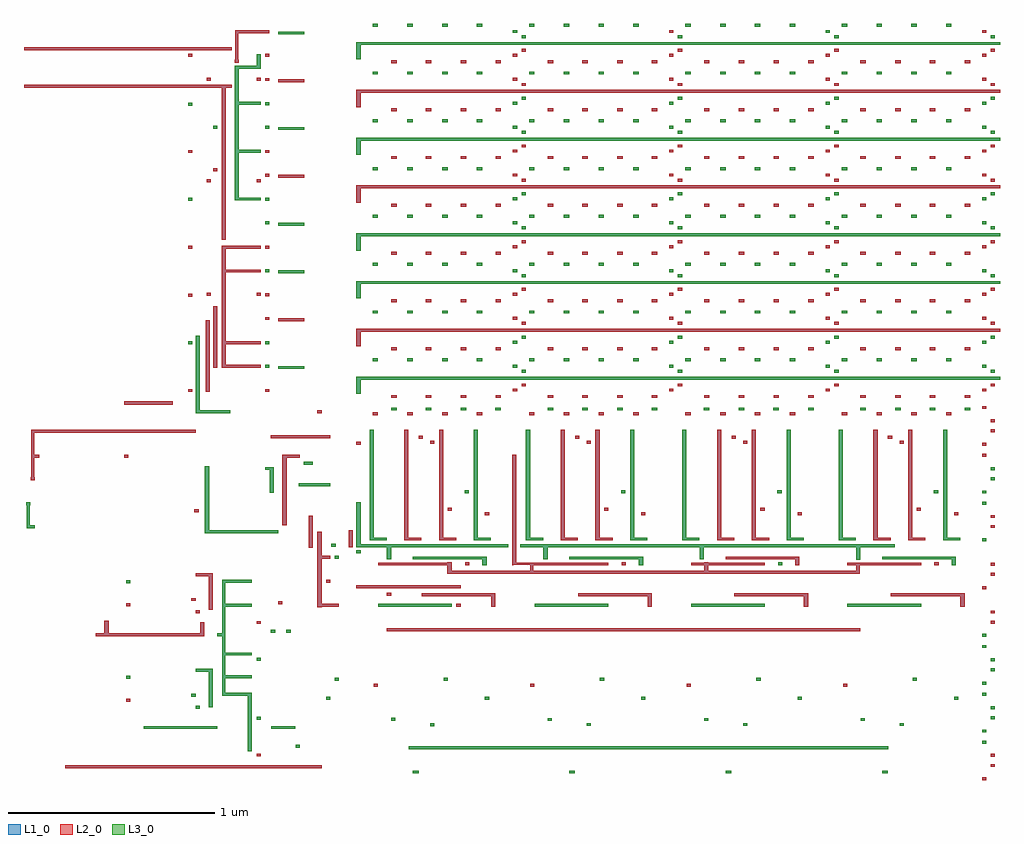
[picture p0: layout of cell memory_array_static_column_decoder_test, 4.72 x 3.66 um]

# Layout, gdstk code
import gdstk
lib = gdstk.Library(unit=1e-6, precision=5e-10)
def R(c, l, rs):  # rectangles x0, y0, x1, y1
    for r in rs: c.add(gdstk.rectangle(r[:2], r[2:], *l))
def A(c, l, x, y, w, h, nx, ny, dx, dy):  # array of equal rectangles
    R(c, l, [(x+i*dx, y+j*dy, x+i*dx+w, y+j*dy+h) for i in range(nx) for j in range(ny)])
def P(c, l, *ps):  # polygons
    for p in ps: c.add(gdstk.Polygon(p, *l))
L1_0 = (1, 0)
L2_0 = (2, 0)
L3_0 = (3, 0)

proto_hold_tspc_pos_ff_3 = lib.new_cell('PROTO_HOLD_tspc_pos_ff_3R')
R(proto_hold_tspc_pos_ff_3, L1_0, [(-0.136,0.0685,-0.109,0.0825), (-0.157,0.186,-0.1075,0.2)])
R(proto_hold_tspc_pos_ff_3, L3_0, [(-0.136,0.0685,-0.109,0.0825)])

c_2to4_decoder_static = lib.new_cell('2to4_decoder_static')
R(c_2to4_decoder_static, L1_0, [(0.0455,0.066,0.4015,0.08), (0.0455,0.265,0.4015,0.279)])
P(c_2to4_decoder_static, L1_0, [(0.5275,0.921),(0.5275,0.4),(0.5905,0.4),(0.5905,0.386),(0.5075,0.386),(0.5075,0.921)],
  [(0.3595,0.9205),(0.3595,0.4),(0.4225,0.4),(0.4225,0.386),(0.3395,0.386),(0.3395,0.9205)],
  [(0.6115,0.13),(0.6115,0.066),(0.5915,0.066),(0.5915,0.116),(0.2555,0.116),(0.2555,0.13)],
  [(0.5695,0.308),(0.5695,0.266),(0.5495,0.266),(0.5495,0.294),(0.2135,0.294),(0.2135,0.308)],
  [(0.1915,0.921),(0.1915,0.4),(0.2545,0.4),(0.2545,0.386),(0.1715,0.386),(0.1715,0.921)],
  [(0.0235,0.921),(0.0235,0.4),(0.0865,0.4),(0.0865,0.386),(0.0035,0.386),(0.0035,0.921)])
P(c_2to4_decoder_static, L2_0, [(0.3595,0.9205),(0.3595,0.4),(0.4225,0.4),(0.4225,0.386),(0.3395,0.386),(0.3395,0.9205)],
  [(0.6115,0.13),(0.6115,0.066),(0.5915,0.066),(0.5915,0.116),(0.2555,0.116),(0.2555,0.13)],
  [(0.1915,0.921),(0.1915,0.4),(0.2545,0.4),(0.2545,0.386),(0.1715,0.386),(0.1715,0.921)])
R(c_2to4_decoder_static, L3_0, [(0.0455,0.066,0.4015,0.08)])
P(c_2to4_decoder_static, L3_0, [(0.5275,0.921),(0.5275,0.4),(0.5905,0.4),(0.5905,0.386),(0.5075,0.386),(0.5075,0.921)],
  [(0.0235,0.921),(0.0235,0.4),(0.0865,0.4),(0.0865,0.386),(0.0035,0.386),(0.0035,0.921)])

demux = lib.new_cell('Demux')
R(demux, L1_0, [(0.171,0.0685,0.1915,0.0825), (0.171,0.18,0.1915,0.194)])
R(demux, L2_0, [(0.171,0.0685,0.1915,0.0825)])
R(demux, L3_0, [(0.171,0.18,0.1915,0.194)])

proto_hold_precharge_log = lib.new_cell('PROTO_HOLD_precharge_logic_3Q')
R(proto_hold_precharge_log, L1_0, [(-0.1765,-0.08,-0.1505,-0.066), (-0.087,-0.0565,-0.0605,-0.0425)])
R(proto_hold_precharge_log, L2_0, [(-0.1765,-0.08,-0.1505,-0.066)])
R(proto_hold_precharge_log, L3_0, [(-0.087,-0.0565,-0.0605,-0.0425)])

write_driver = lib.new_cell('Write_Driver')
R(write_driver, L1_0, [(0.5985,0.2175,0.6185,0.2315), (0.0615,0.2805,0.0815,0.2945), (0.3985,0.31,0.4185,0.324)])
R(write_driver, L2_0, [(0.0615,0.2805,0.0815,0.2945)])
R(write_driver, L3_0, [(0.5985,0.2175,0.6185,0.2315), (0.3985,0.31,0.4185,0.324)])

sram_6t = lib.new_cell('sram_6t')
R(sram_6t, L1_0, [(0.1025,0.0355,0.1285,0.0495), (0,0.1245,0.141,0.1385), (0.0125,0.213,0.0385,0.227)])
R(sram_6t, L2_0, [(0.1025,0.0355,0.1285,0.0495)])
R(sram_6t, L3_0, [(0.0125,0.213,0.0385,0.227)])

memory_array_static_colu = lib.new_cell('memory_array_static_column_decoder_test')
A(memory_array_static_colu, L1_0, 2.72, 0.298, 0.02, 0.014, 3, 2, 0.756, 1.3645)
A(memory_array_static_colu, L1_0, 2.5315, 0.322, 0.02, 0.014, 3, 1, 0.756, 0)
A(memory_array_static_colu, L1_0, 2.228, 0.4245, 0.02, 0.014, 4, 2, 0.756, 0.892)
A(memory_array_static_colu, L1_0, 1.691, 0.4875, 0.02, 0.014, 4, 1, 0.756, 0)
A(memory_array_static_colu, L1_0, 2.028, 0.517, 0.02, 0.014, 4, 1, 0.756, 0)
A(memory_array_static_colu, L1_0, 4.631, 0.7285, 0.02, 0.014, 1, 3, 0, 0.231)
A(memory_array_static_colu, L1_0, 2.1325, 1.0745, 0.02, 0.014, 3, 1, 0.756, 0)
A(memory_array_static_colu, L1_0, 1.88, 1.1025, 0.02, 0.014, 4, 1, 0.756, 0)
A(memory_array_static_colu, L1_0, 2.0475, 1.338, 0.02, 0.014, 4, 1, 0.756, 0)
A(memory_array_static_colu, L1_0, 2.13, 1.423, 0.02, 0.014, 4, 1, 0.756, 0)
A(memory_array_static_colu, L1_0, 2.664, 1.686, 0.02, 0.014, 3, 1, 0.756, 0)
A(memory_array_static_colu, L1_0, 2.363, 1.915, 0.02, 0.014, 4, 2, 0.756, 0.115)
A(memory_array_static_colu, L1_0, 2.405, 1.939, 0.02, 0.014, 4, 2, 0.756, 0.0665)
A(memory_array_static_colu, L1_0, 1.229, 2.0235, 0.126, 0.014, 1, 8, 0, 0.231)
A(memory_array_static_colu, L1_0, 2.363, 2.146, 0.02, 0.014, 4, 2, 0.756, 0.115)
A(memory_array_static_colu, L1_0, 2.405, 2.17, 0.02, 0.014, 4, 2, 0.756, 0.0665)
A(memory_array_static_colu, L1_0, 2.363, 2.377, 0.02, 0.014, 4, 2, 0.756, 0.115)
A(memory_array_static_colu, L1_0, 2.405, 2.401, 0.02, 0.014, 4, 2, 0.756, 0.0665)
A(memory_array_static_colu, L1_0, 2.363, 2.608, 0.02, 0.014, 4, 2, 0.756, 0.115)
A(memory_array_static_colu, L1_0, 2.405, 2.632, 0.02, 0.014, 4, 2, 0.756, 0.0665)
A(memory_array_static_colu, L1_0, 2.363, 2.839, 0.02, 0.014, 4, 2, 0.756, 0.115)
A(memory_array_static_colu, L1_0, 2.405, 2.863, 0.02, 0.014, 4, 2, 0.756, 0.0665)
A(memory_array_static_colu, L1_0, 2.363, 3.07, 0.02, 0.014, 4, 2, 0.756, 0.115)
A(memory_array_static_colu, L1_0, 2.405, 3.094, 0.02, 0.014, 4, 2, 0.756, 0.0665)
A(memory_array_static_colu, L1_0, 2.363, 3.301, 0.02, 0.014, 4, 2, 0.756, 0.115)
A(memory_array_static_colu, L1_0, 2.405, 3.325, 0.02, 0.014, 4, 2, 0.756, 0.0665)
A(memory_array_static_colu, L1_0, 2.363, 3.5325, 0.02, 0.014, 4, 2, 0.756, 0.115)
A(memory_array_static_colu, L1_0, 2.405, 3.5565, 0.02, 0.014, 4, 2, 0.756, 0.0665)
R(memory_array_static_colu, L1_0, [(4.631,0.0355,4.651,0.0495), (0.1995,0.0935,1.438,0.1075), (4.673,0.1,4.693,0.114), (4.673,0.1485,4.693,0.1625), (1.124,0.1505,1.144,0.1645), (1.859,0.186,4.1765,0.2), (1.313,0.1925,1.333,0.2065), (4.631,0.213,4.651,0.227), (4.631,0.2665,4.651,0.2805), (0.578,0.2835,0.9345,0.2975), (1.196,0.2835,1.312,0.2975), (1.964,0.2975,1.984,0.3115), (1.775,0.3225,1.795,0.3365), (1.124,0.329,1.144,0.343), (4.673,0.331,4.693,0.345), (4.673,0.3795,4.693,0.3935), (0.83,0.3805,0.85,0.3945), (1.46,0.424,1.48,0.4385), (0.809,0.44,0.829,0.454), (4.631,0.444,4.651,0.458), (4.631,0.4975,4.651,0.5115), (1.502,0.5165,1.522,0.5305), (4.673,0.562,4.693,0.576), (4.673,0.6105,4.693,0.6245), (1.124,0.6125,1.144,0.6265), (4.631,0.675,4.651,0.689), (1.2685,0.748,1.2885,0.762), (1.1935,0.7495,1.2135,0.7635), (1.7545,0.756,4.0425,0.77), (1.124,0.791,1.1445,0.805), (4.673,0.793,4.693,0.807), (4.673,0.8415,4.693,0.8555), (0.83,0.8425,0.85,0.8565), (2.09,0.8745,2.11,0.8885), (1.229,0.8865,1.249,0.9005), (0.809,0.902,0.829,0.916), (1.922,0.9245,1.942,0.9385), (1.754,0.928,1.774,0.942), (1.607,0.9635,2.1105,0.9775), (1.46,0.991,1.48,1.005), (4.673,1.024,4.693,1.038), (4.673,1.0725,4.693,1.0865), (3.728,1.0745,3.748,1.0885), (4.4005,1.0745,4.4205,1.0885), (1.502,1.1055,1.522,1.1195), (1.607,1.133,1.627,1.147), (1.376,1.1585,1.396,1.3145), (1.5685,1.1625,1.5885,1.2435), (1.486,1.164,1.506,1.178), (4.673,1.255,4.693,1.269), (4.673,1.3035,4.693,1.3175), (0.824,1.332,0.844,1.346), (4.631,1.368,4.651,1.382), (4.631,1.4215,4.651,1.4355), (4.673,1.486,4.693,1.5), (4.673,1.5345,4.693,1.5485), (1.353,1.561,1.395,1.575), (0.485,1.595,0.505,1.609), (4.631,1.599,4.651,1.613), (4.631,1.6525,4.651,1.6665), (1.607,1.6565,1.627,1.6705), (1.9635,1.663,1.9835,1.677), (1.908,1.6865,1.928,1.7005), (1.1935,1.6885,1.48,1.7025), (4.673,1.717,4.693,1.731), (4.673,1.7655,4.693,1.7795), (1.418,1.8105,1.438,1.8245), (4.631,1.83,4.651,1.844), (0.485,1.8515,0.7195,1.8665), (0.794,1.9125,0.814,1.9265), (1.166,1.9125,1.186,1.9265), (0.879,1.9135,0.899,2.26), (0.914,2.029,0.934,2.3275), (1.166,2.0295,1.186,2.0435), (0.794,2.1435,0.814,2.1575), (1.166,2.1435,1.186,2.1575), (1.166,2.2605,1.186,2.2745), (0.7935,2.3735,0.8135,2.3875), (1.166,2.3745,1.186,2.3885), (0.8825,2.377,0.9025,2.3915), (1.124,2.377,1.144,2.391), (1.166,2.4915,1.186,2.5055), (0.7935,2.6055,0.8135,2.6195), (1.166,2.6055,1.186,2.6195), (1.166,2.7225,1.186,2.7365), (0.7935,2.836,0.8135,2.85), (1.166,2.8365,1.186,2.8505), (1.124,2.9255,1.144,2.9395), (0.8825,2.926,0.9025,2.94), (1.166,2.9535,1.186,2.9675), (0.914,2.98,0.934,2.994), (0.7935,3.0675,0.8135,3.0815), (1.166,3.0675,1.186,3.0815), (0.914,3.185,0.934,3.2), (1.166,3.185,1.186,3.199), (0.7935,3.296,0.8135,3.31), (1.166,3.2985,1.186,3.3125), (1.166,3.4155,1.186,3.4295), (0.8825,3.4165,0.9025,3.4305), (1.124,3.4165,1.144,3.4305), (0.794,3.532,0.814,3.546), (1.166,3.532,1.186,3.546), (0,3.5635,1.0045,3.5775)])
P(memory_array_static_colu, L1_0, [(1.186,3.6605),(1.186,3.6465),(1.036,3.6465),(1.036,3.5185),(1.039,3.5185),(1.039,3.5045),(1.036,3.5045),(1.036,3.504),(1.022,3.504),(1.022,3.5045),(1.019,3.5045),(1.019,3.5185),(1.022,3.5185),(1.022,3.6605)],
  [(0.85,2.1845),(0.85,1.8245),(0.997,1.8245),(0.997,1.8105),(0.83,1.8105),(0.83,2.1845)],
  [(1.48,1.4705),(1.48,1.4565),(1.347,1.4565),(1.347,1.4555),(1.327,1.4555),(1.327,1.4705)],
  [(1.207,1.5495),(1.207,1.4255),(1.187,1.4255),(1.187,1.5355),(1.165,1.5355),(1.165,1.5495)],
  [(0.829,1.729),(0.829,1.715),(0.049,1.715),(0.049,1.609),(0.073,1.609),(0.073,1.595),(0.049,1.595),(0.049,1.499),(0.052,1.499),(0.052,1.485),(0.049,1.485),(0.049,1.4845),(0.035,1.4845),(0.035,1.485),(0.032,1.485),(0.032,1.499),(0.035,1.499),(0.035,1.729)],
  [(1.627,1.378),(1.627,1.1765),(2.34,1.1765),(2.34,1.1625),(1.774,1.1625),(1.774,1.1025),(1.754,1.1025),(1.754,1.1625),(1.607,1.1625),(1.607,1.378)],
  [(1.438,1.2355),(1.438,1.1195),(1.48,1.1195),(1.48,1.1055),(1.438,1.1055),(1.438,0.8885),(1.522,0.8885),(1.522,0.8745),(1.438,0.8745),(1.438,0.871),(1.4175,0.871),(1.4175,1.2355)],
  [(1.333,1.609),(1.333,1.595),(1.27,1.595),(1.27,1.269),(1.249,1.269),(1.249,1.609)],
  [(0.8945,1.552),(0.8945,1.245),(1.2285,1.245),(1.2285,1.23),(0.8745,1.23),(0.8745,1.552)],
  [(0.913,1.0365),(0.913,0.8605),(0.893,0.8605),(0.893,1.0225),(0.83,1.0225),(0.83,1.0365)],
  [(0.028,1.3785),(0.028,1.378),(0.031,1.378),(0.031,1.364),(0.028,1.364),(0.028,1.2685),(0.052,1.2685),(0.052,1.2535),(0.014,1.2535),(0.014,1.364),(0.011,1.364),(0.011,1.378),(0.014,1.378),(0.014,1.3785)],
  [(0.9135,0.575),(0.9135,0.3875),(0.893,0.3875),(0.893,0.561),(0.83,0.561),(0.83,0.575)],
  [(0.409,0.806),(0.409,0.7465),(0.851,0.7465),(0.851,0.8),(0.871,0.8),(0.871,0.7325),(0.347,0.7325),(0.347,0.7465),(0.389,0.7465),(0.389,0.806)],
  [(4.2095,1.1765),(4.2095,1.1625),(4.042,1.1625),(4.042,1.102),(4.022,1.102),(4.022,1.1625),(3.286,1.1625),(3.286,1.1025),(3.266,1.1025),(3.266,1.1625),(2.5305,1.1625),(2.5305,1.103),(2.5105,1.103),(2.5105,1.1625),(2.3975,1.1625),(2.3975,1.1765)],
  [(2.3805,1.6085),(2.3805,1.0875),(2.489,1.0875),(2.489,1.0735),(2.462,1.0735),(2.462,1.0475),(3.2885,1.0475),(3.2885,1.0885),(3.307,1.0885),(3.307,1.0475),(4.022,1.0475),(4.022,1.0875),(4.0405,1.0875),(4.0405,1.0335),(2.0465,1.0335),(2.0465,1.0885),(2.068,1.0885),(2.068,1.0475),(2.448,1.0475),(2.448,1.0735),(2.3655,1.0735),(2.3655,1.0745),(2.36,1.0745),(2.36,1.6085)],
  [(4.7175,3.6035),(4.7175,3.5895),(1.627,3.5895),(1.627,3.52),(1.607,3.52),(1.607,3.6035)],
  [(4.7175,3.3725),(4.7175,3.3585),(1.627,3.3585),(1.627,3.289),(1.607,3.289),(1.607,3.3725)],
  [(4.7175,3.1415),(4.7175,3.1275),(1.627,3.1275),(1.627,3.058),(1.607,3.058),(1.607,3.1415)],
  [(4.7175,2.9105),(4.7175,2.8965),(1.627,2.8965),(1.627,2.827),(1.607,2.827),(1.607,2.9105)],
  [(4.7175,2.6795),(4.7175,2.6655),(1.627,2.6655),(1.627,2.5955),(1.607,2.5955),(1.607,2.6795)],
  [(4.7175,2.4485),(4.7175,2.4345),(1.627,2.4345),(1.627,2.365),(1.607,2.365),(1.607,2.4485)],
  [(4.7175,2.2175),(4.7175,2.2035),(1.627,2.2035),(1.627,2.134),(1.607,2.134),(1.607,2.2175)],
  [(4.7175,1.9865),(4.7175,1.9725),(1.627,1.9725),(1.627,1.903),(1.607,1.903),(1.607,1.9865)],
  [(1.144,3.545),(1.144,3.4755),(1.039,3.4755),(1.039,3.314),(1.144,3.314),(1.144,3.3),(1.039,3.3),(1.039,3.083),(1.144,3.083),(1.144,3.069),(1.039,3.069),(1.039,2.852),(1.144,2.852),(1.144,2.838),(1.019,2.838),(1.019,3.4895),(1.124,3.4895),(1.124,3.545)],
  [(1.144,2.6185),(1.144,2.604),(0.976,2.604),(0.976,2.504),(1.144,2.504),(1.144,2.49),(0.976,2.49),(0.976,2.1565),(1.144,2.1565),(1.144,2.1425),(0.976,2.1425),(0.976,2.044),(1.144,2.044),(1.144,2.03),(0.956,2.03),(0.956,2.6185)],
  [(1.102,1.005),(1.102,0.991),(0.9735,0.991),(0.9735,0.8885),(1.102,0.8885),(1.102,0.8745),(0.9735,0.8745),(0.9735,0.6525),(1.102,0.6525),(1.102,0.6385),(0.9735,0.6385),(0.9735,0.543),(1.102,0.543),(1.102,0.529),(0.9735,0.529),(0.9735,0.4585),(1.102,0.4585),(1.102,0.1765),(1.082,0.1765),(1.082,0.4445),(0.9585,0.4445),(0.9585,0.7325),(0.935,0.7325),(0.935,0.7465),(0.9585,0.7465),(0.9585,1.005)],
  [(1.005,3.3975),(1.005,3.3835),(0.976,3.3835),(0.976,2.6475),(0.956,2.6475),(0.956,3.3835),(0,3.3835),(0,3.3975)])
A(memory_array_static_colu, L2_0, 2.228, 1.3165, 0.02, 0.014, 4, 1, 0.756, 0)
A(memory_array_static_colu, L2_0, 2.0475, 1.338, 0.02, 0.014, 4, 1, 0.756, 0)
A(memory_array_static_colu, L2_0, 2.72, 1.6625, 0.02, 0.014, 3, 1, 0.756, 0)
A(memory_array_static_colu, L2_0, 2.664, 1.686, 0.02, 0.014, 3, 1, 0.756, 0)
A(memory_array_static_colu, L2_0, 2.363, 1.915, 0.02, 0.014, 4, 2, 0.756, 0.346)
A(memory_array_static_colu, L2_0, 2.405, 1.939, 0.02, 0.014, 4, 2, 0.756, 0.2975)
A(memory_array_static_colu, L2_0, 2.363, 2.377, 0.02, 0.014, 4, 2, 0.756, 0.231)
A(memory_array_static_colu, L2_0, 2.405, 2.401, 0.02, 0.014, 4, 2, 0.756, 0.231)
A(memory_array_static_colu, L2_0, 2.405, 2.9295, 0.02, 0.014, 4, 2, 0.756, 0.1645)
A(memory_array_static_colu, L2_0, 2.363, 2.954, 0.02, 0.014, 4, 2, 0.756, 0.116)
A(memory_array_static_colu, L2_0, 2.405, 3.3915, 0.02, 0.014, 4, 2, 0.756, 0.165)
A(memory_array_static_colu, L2_0, 2.363, 3.416, 0.02, 0.014, 4, 2, 0.756, 0.1165)
R(memory_array_static_colu, L2_0, [(4.631,0.0355,4.651,0.0495), (0.1995,0.0935,1.438,0.1075), (4.673,0.1,4.693,0.114), (4.673,0.1485,4.693,0.1625), (1.124,0.1505,1.144,0.1645), (1.7545,0.756,4.0425,0.77), (1.124,0.791,1.1445,0.805), (4.673,0.793,4.693,0.807), (4.673,0.8415,4.693,0.8555), (0.83,0.8425,0.85,0.8565), (2.09,0.8745,2.11,0.8885), (1.229,0.8865,1.249,0.9005), (0.809,0.902,0.829,0.916), (1.754,0.928,1.774,0.942), (4.631,0.9595,4.651,0.9735), (1.607,0.9635,2.1105,0.9775), (1.46,0.991,1.48,1.005), (4.673,1.024,4.693,1.038), (4.673,1.0725,4.693,1.0865), (2.1325,1.0745,2.1525,1.0885), (2.8885,1.0745,2.9085,1.0885), (4.4005,1.0745,4.4205,1.0885), (1.376,1.1585,1.396,1.3145), (1.5685,1.1625,1.5885,1.2435), (4.673,1.255,4.693,1.269), (4.673,1.3035,4.693,1.3175), (0.824,1.332,0.844,1.346), (0.485,1.595,0.505,1.609), (4.631,1.599,4.651,1.613), (4.631,1.6525,4.651,1.6665), (1.607,1.6565,1.627,1.6705), (1.9635,1.663,1.9835,1.677), (1.908,1.6865,1.928,1.7005), (1.1935,1.6885,1.48,1.7025), (4.673,1.717,4.693,1.731), (4.673,1.7655,4.693,1.7795), (1.418,1.8105,1.438,1.8245), (4.631,1.83,4.651,1.844), (0.485,1.8515,0.7195,1.8665), (0.794,1.9125,0.814,1.9265), (1.166,1.9125,1.186,1.9265), (0.879,1.9135,0.899,2.26), (0.914,2.029,0.934,2.3275), (1.229,2.2545,1.355,2.2685), (1.166,2.2605,1.186,2.2745), (0.7935,2.3735,0.8135,2.3875), (1.166,2.3745,1.186,2.3885), (0.8825,2.377,0.9025,2.3915), (1.124,2.377,1.144,2.391), (0.7935,2.6055,0.8135,2.6195), (1.166,2.6055,1.186,2.6195), (1.124,2.9255,1.144,2.9395), (0.8825,2.926,0.9025,2.94), (1.229,2.9475,1.355,2.9615), (1.166,2.9535,1.186,2.9675), (0.914,2.98,0.934,2.994), (0.7935,3.0675,0.8135,3.0815), (1.166,3.0675,1.186,3.0815), (1.229,3.4095,1.355,3.4235), (1.166,3.4155,1.186,3.4295), (0.8825,3.4165,0.9025,3.4305), (1.124,3.4165,1.144,3.4305), (0.794,3.532,0.814,3.546), (1.166,3.532,1.186,3.546), (0,3.5635,1.0045,3.5775), (3.119,3.6475,3.139,3.6615), (4.631,3.6475,4.651,3.6615)])
P(memory_array_static_colu, L2_0, [(1.186,3.6605),(1.186,3.6465),(1.036,3.6465),(1.036,3.5185),(1.039,3.5185),(1.039,3.5045),(1.036,3.5045),(1.036,3.504),(1.022,3.504),(1.022,3.5045),(1.019,3.5045),(1.019,3.5185),(1.022,3.5185),(1.022,3.6605)],
  [(1.144,2.6185),(1.144,2.604),(0.976,2.604),(0.976,2.504),(1.144,2.504),(1.144,2.49),(0.976,2.49),(0.976,2.1565),(1.144,2.1565),(1.144,2.1425),(0.976,2.1425),(0.976,2.044),(1.144,2.044),(1.144,2.03),(0.956,2.03),(0.956,2.6185)],
  [(1.005,3.3975),(1.005,3.3835),(0.976,3.3835),(0.976,2.6475),(0.956,2.6475),(0.956,3.3835),(0,3.3835),(0,3.3975)],
  [(3.748,1.1165),(3.748,1.0745),(3.728,1.0745),(3.728,1.1025),(3.392,1.1025),(3.392,1.1165)],
  [(1.438,1.2355),(1.438,1.1195),(1.48,1.1195),(1.48,1.1055),(1.438,1.1055),(1.438,0.8885),(1.522,0.8885),(1.522,0.8745),(1.438,0.8745),(1.438,0.871),(1.4175,0.871),(1.4175,1.2355)],
  [(1.333,1.609),(1.333,1.595),(1.27,1.595),(1.27,1.269),(1.249,1.269),(1.249,1.609)],
  [(0.913,1.0365),(0.913,0.8605),(0.893,0.8605),(0.893,1.0225),(0.83,1.0225),(0.83,1.0365)],
  [(0.829,1.729),(0.829,1.715),(0.049,1.715),(0.049,1.609),(0.073,1.609),(0.073,1.595),(0.049,1.595),(0.049,1.499),(0.052,1.499),(0.052,1.485),(0.049,1.485),(0.049,1.4845),(0.035,1.4845),(0.035,1.485),(0.032,1.485),(0.032,1.499),(0.035,1.499),(0.035,1.729)],
  [(0.409,0.806),(0.409,0.7465),(0.851,0.7465),(0.851,0.8),(0.871,0.8),(0.871,0.7325),(0.347,0.7325),(0.347,0.7465),(0.389,0.7465),(0.389,0.806)],
  [(2.3805,1.6085),(2.3805,1.0875),(2.824,1.0875),(2.824,1.0735),(2.462,1.0735),(2.462,1.0475),(3.2885,1.0475),(3.2885,1.0735),(3.224,1.0735),(3.224,1.0875),(3.2885,1.0875),(3.2885,1.0885),(3.307,1.0885),(3.307,1.0875),(3.58,1.0875),(3.58,1.0735),(3.307,1.0735),(3.307,1.0475),(4.022,1.0475),(4.022,1.0735),(3.98,1.0735),(3.98,1.0875),(4.336,1.0875),(4.336,1.0735),(4.0405,1.0735),(4.0405,1.0335),(2.0465,1.0335),(2.0465,1.0735),(1.712,1.0735),(1.712,1.0875),(2.0465,1.0875),(2.0465,1.0885),(2.068,1.0885),(2.068,1.0475),(2.448,1.0475),(2.448,1.0735),(2.3655,1.0735),(2.3655,1.0745),(2.36,1.0745),(2.36,1.6085)],
  [(4.7175,3.3725),(4.7175,3.3585),(1.627,3.3585),(1.627,3.289),(1.607,3.289),(1.607,3.3725)],
  [(4.7175,2.9105),(4.7175,2.8965),(1.627,2.8965),(1.627,2.827),(1.607,2.827),(1.607,2.9105)],
  [(4.7175,2.2175),(4.7175,2.2035),(1.627,2.2035),(1.627,2.134),(1.607,2.134),(1.607,2.2175)])
A(memory_array_static_colu, L3_0, 2.72, 0.298, 0.02, 0.014, 3, 1, 0.756, 0)
A(memory_array_static_colu, L3_0, 2.5315, 0.322, 0.02, 0.014, 3, 1, 0.756, 0)
A(memory_array_static_colu, L3_0, 2.13, 1.423, 0.02, 0.014, 4, 1, 0.756, 0)
A(memory_array_static_colu, L3_0, 2.405, 2.0055, 0.02, 0.014, 4, 2, 0.756, 0.1645)
A(memory_array_static_colu, L3_0, 2.363, 2.03, 0.02, 0.014, 4, 2, 0.756, 0.116)
A(memory_array_static_colu, L3_0, 2.405, 2.4675, 0.02, 0.014, 4, 2, 0.756, 0.231)
A(memory_array_static_colu, L3_0, 2.363, 2.492, 0.02, 0.014, 4, 2, 0.756, 0.231)
A(memory_array_static_colu, L3_0, 1.229, 2.7165, 0.126, 0.014, 1, 3, 0, 0.462)
A(memory_array_static_colu, L3_0, 2.363, 2.839, 0.02, 0.014, 4, 2, 0.756, 0.346)
A(memory_array_static_colu, L3_0, 2.405, 2.863, 0.02, 0.014, 4, 2, 0.756, 0.2975)
A(memory_array_static_colu, L3_0, 2.363, 3.301, 0.02, 0.014, 4, 1, 0.756, 0)
A(memory_array_static_colu, L3_0, 2.405, 3.325, 0.02, 0.014, 4, 2, 0.756, 0.298)
R(memory_array_static_colu, L3_0, [(1.859,0.186,4.1765,0.2), (1.313,0.1925,1.333,0.2065), (4.631,0.213,4.651,0.227), (4.631,0.2665,4.651,0.2805), (0.578,0.2835,0.9345,0.2975), (1.196,0.2835,1.312,0.2975), (1.964,0.2975,1.984,0.3115), (1.775,0.3225,1.795,0.3365), (1.124,0.329,1.144,0.343), (4.673,0.331,4.693,0.345), (4.673,0.3795,4.693,0.3935), (0.83,0.3805,0.85,0.3945), (1.46,0.424,1.48,0.4385), (0.809,0.44,0.829,0.454), (4.631,0.444,4.651,0.458), (4.631,0.4975,4.651,0.5115), (1.502,0.5165,1.522,0.5305), (4.673,0.562,4.693,0.576), (4.673,0.6105,4.693,0.6245), (1.124,0.6125,1.144,0.6265), (4.631,0.675,4.651,0.689), (4.631,0.7285,4.651,0.7425), (1.2685,0.748,1.2885,0.762), (1.1935,0.7495,1.2135,0.7635), (3.6445,1.0745,3.6645,1.0885), (1.502,1.1055,1.522,1.1195), (1.607,1.133,1.627,1.147), (1.486,1.164,1.506,1.178), (4.631,1.1905,4.651,1.2045), (4.631,1.368,4.651,1.382), (4.631,1.4215,4.651,1.4355), (4.673,1.486,4.693,1.5), (4.673,1.5345,4.693,1.5485), (1.353,1.561,1.395,1.575), (1.229,2.0235,1.355,2.0375), (1.166,2.0295,1.186,2.0435), (0.794,2.1435,0.814,2.1575), (1.166,2.1435,1.186,2.1575), (1.229,2.4855,1.355,2.4995), (1.166,2.4915,1.186,2.5055), (1.166,2.7225,1.186,2.7365), (0.7935,2.836,0.8135,2.85), (1.166,2.8365,1.186,2.8505), (0.914,3.185,0.934,3.2), (1.166,3.185,1.186,3.199), (0.7935,3.296,0.8135,3.31), (1.166,3.2985,1.186,3.3125), (2.363,3.6475,2.383,3.6615), (3.875,3.6475,3.895,3.6615)])
P(memory_array_static_colu, L3_0, [(1.144,3.545),(1.144,3.4755),(1.039,3.4755),(1.039,3.314),(1.144,3.314),(1.144,3.3),(1.039,3.3),(1.039,3.083),(1.144,3.083),(1.144,3.069),(1.039,3.069),(1.039,2.852),(1.144,2.852),(1.144,2.838),(1.019,2.838),(1.019,3.4895),(1.124,3.4895),(1.124,3.545)],
  [(0.85,2.1845),(0.85,1.8245),(0.997,1.8245),(0.997,1.8105),(0.83,1.8105),(0.83,2.1845)],
  [(4.504,1.1165),(4.504,1.0745),(4.484,1.0745),(4.484,1.1025),(4.148,1.1025),(4.148,1.1165)],
  [(2.992,1.1165),(2.992,1.0745),(2.972,1.0745),(2.972,1.1025),(2.636,1.1025),(2.636,1.1165)],
  [(2.236,1.1165),(2.236,1.0745),(2.216,1.0745),(2.216,1.1025),(1.88,1.1025),(1.88,1.1165)],
  [(1.627,1.378),(1.627,1.1765),(2.34,1.1765),(2.34,1.1625),(1.774,1.1625),(1.774,1.1025),(1.754,1.1025),(1.754,1.1625),(1.607,1.1625),(1.607,1.378)],
  [(1.48,1.4705),(1.48,1.4565),(1.347,1.4565),(1.347,1.4555),(1.327,1.4555),(1.327,1.4705)],
  [(1.207,1.5495),(1.207,1.4255),(1.187,1.4255),(1.187,1.5355),(1.165,1.5355),(1.165,1.5495)],
  [(0.8945,1.552),(0.8945,1.245),(1.2285,1.245),(1.2285,1.23),(0.8745,1.23),(0.8745,1.552)],
  [(0.028,1.3785),(0.028,1.378),(0.031,1.378),(0.031,1.364),(0.028,1.364),(0.028,1.2685),(0.052,1.2685),(0.052,1.2535),(0.014,1.2535),(0.014,1.364),(0.011,1.364),(0.011,1.378),(0.014,1.378),(0.014,1.3785)],
  [(1.102,1.005),(1.102,0.991),(0.9735,0.991),(0.9735,0.8885),(1.102,0.8885),(1.102,0.8745),(0.9735,0.8745),(0.9735,0.6525),(1.102,0.6525),(1.102,0.6385),(0.9735,0.6385),(0.9735,0.543),(1.102,0.543),(1.102,0.529),(0.9735,0.529),(0.9735,0.4585),(1.102,0.4585),(1.102,0.1765),(1.082,0.1765),(1.082,0.4445),(0.9585,0.4445),(0.9585,0.7325),(0.935,0.7325),(0.935,0.7465),(0.9585,0.7465),(0.9585,1.005)],
  [(0.9135,0.575),(0.9135,0.3875),(0.893,0.3875),(0.893,0.561),(0.83,0.561),(0.83,0.575)],
  [(4.2095,1.1765),(4.2095,1.1625),(4.042,1.1625),(4.042,1.102),(4.022,1.102),(4.022,1.1625),(3.286,1.1625),(3.286,1.1025),(3.266,1.1025),(3.266,1.1625),(2.5305,1.1625),(2.5305,1.103),(2.5105,1.103),(2.5105,1.1625),(2.3975,1.1625),(2.3975,1.1765)],
  [(4.7175,3.6035),(4.7175,3.5895),(1.627,3.5895),(1.627,3.52),(1.607,3.52),(1.607,3.6035)],
  [(4.7175,3.1415),(4.7175,3.1275),(1.627,3.1275),(1.627,3.058),(1.607,3.058),(1.607,3.1415)],
  [(4.7175,2.6795),(4.7175,2.6655),(1.627,2.6655),(1.627,2.5955),(1.607,2.5955),(1.607,2.6795)],
  [(4.7175,2.4485),(4.7175,2.4345),(1.627,2.4345),(1.627,2.365),(1.607,2.365),(1.607,2.4485)],
  [(4.7175,1.9865),(4.7175,1.9725),(1.627,1.9725),(1.627,1.903),(1.607,1.903),(1.607,1.9865)])
memory_array_static_colu.add(gdstk.Reference(proto_hold_tspc_pos_ff_3, (4.284,0)))
memory_array_static_colu.add(gdstk.Reference(proto_hold_tspc_pos_ff_3, (3.528,0)))
memory_array_static_colu.add(gdstk.Reference(proto_hold_tspc_pos_ff_3, (2.772,0)))
memory_array_static_colu.add(gdstk.Reference(proto_hold_tspc_pos_ff_3, (2.016,0)))
memory_array_static_colu.add(gdstk.Reference(c_2to4_decoder_static, (3.9345,0.8085)))
memory_array_static_colu.add(gdstk.Reference(c_2to4_decoder_static, (3.1785,0.8085)))
memory_array_static_colu.add(gdstk.Reference(c_2to4_decoder_static, (1.6665,0.8085)))
memory_array_static_colu.add(gdstk.Reference(c_2to4_decoder_static, (2.4225,0.8085)))
memory_array_static_colu.add(gdstk.Reference(demux, (0.3225,0.8085)))
memory_array_static_colu.add(gdstk.Reference(demux, (0.3225,0.3465)))
memory_array_static_colu.add(gdstk.Reference(proto_hold_precharge_log, (2.3655,1.8795)))
memory_array_static_colu.add(gdstk.Reference(proto_hold_precharge_log, (2.1975,1.8795)))
memory_array_static_colu.add(gdstk.Reference(proto_hold_precharge_log, (2.0295,1.8795)))
memory_array_static_colu.add(gdstk.Reference(proto_hold_precharge_log, (1.8615,1.8795)))
memory_array_static_colu.add(gdstk.Reference(proto_hold_precharge_log, (3.1215,1.8795)))
memory_array_static_colu.add(gdstk.Reference(proto_hold_precharge_log, (2.9535,1.8795)))
memory_array_static_colu.add(gdstk.Reference(proto_hold_precharge_log, (2.7855,1.8795)))
memory_array_static_colu.add(gdstk.Reference(proto_hold_precharge_log, (2.6175,1.8795)))
memory_array_static_colu.add(gdstk.Reference(proto_hold_precharge_log, (4.1295,1.8795)))
memory_array_static_colu.add(gdstk.Reference(proto_hold_precharge_log, (4.2975,1.8795)))
memory_array_static_colu.add(gdstk.Reference(proto_hold_precharge_log, (4.4655,1.8795)))
memory_array_static_colu.add(gdstk.Reference(proto_hold_precharge_log, (4.6335,1.8795)))
memory_array_static_colu.add(gdstk.Reference(proto_hold_precharge_log, (3.8775,1.8795)))
memory_array_static_colu.add(gdstk.Reference(proto_hold_precharge_log, (3.7095,1.8795)))
memory_array_static_colu.add(gdstk.Reference(proto_hold_precharge_log, (3.5415,1.8795)))
memory_array_static_colu.add(gdstk.Reference(proto_hold_precharge_log, (3.3735,1.8795)))
memory_array_static_colu.add(gdstk.Reference(write_driver, (1.6295,0.207)))
memory_array_static_colu.add(gdstk.Reference(write_driver, (2.3855,0.207)))
memory_array_static_colu.add(gdstk.Reference(write_driver, (3.1415,0.207)))
memory_array_static_colu.add(gdstk.Reference(write_driver, (3.8975,0.207)))
memory_array_static_colu.add(gdstk.Reference(sram_6t, (3.6885,2.541)))
memory_array_static_colu.add(gdstk.Reference(sram_6t, (3.6885,2.31)))
memory_array_static_colu.add(gdstk.Reference(sram_6t, (3.6885,2.079)))
memory_array_static_colu.add(gdstk.Reference(sram_6t, (3.9405,1.848)))
memory_array_static_colu.add(gdstk.Reference(sram_6t, (4.1085,1.848)))
memory_array_static_colu.add(gdstk.Reference(sram_6t, (4.2765,1.848)))
memory_array_static_colu.add(gdstk.Reference(sram_6t, (4.4445,1.848)))
memory_array_static_colu.add(gdstk.Reference(sram_6t, (3.3525,3.465)))
memory_array_static_colu.add(gdstk.Reference(sram_6t, (3.5205,3.465)))
memory_array_static_colu.add(gdstk.Reference(sram_6t, (3.1845,3.465)))
memory_array_static_colu.add(gdstk.Reference(sram_6t, (3.5205,3.234)))
memory_array_static_colu.add(gdstk.Reference(sram_6t, (3.3525,3.234)))
memory_array_static_colu.add(gdstk.Reference(sram_6t, (3.1845,3.234)))
memory_array_static_colu.add(gdstk.Reference(sram_6t, (3.1845,3.003)))
memory_array_static_colu.add(gdstk.Reference(sram_6t, (3.5205,3.003)))
memory_array_static_colu.add(gdstk.Reference(sram_6t, (3.3525,3.003)))
memory_array_static_colu.add(gdstk.Reference(sram_6t, (3.1845,2.772)))
memory_array_static_colu.add(gdstk.Reference(sram_6t, (3.3525,2.772)))
memory_array_static_colu.add(gdstk.Reference(sram_6t, (3.5205,2.772)))
memory_array_static_colu.add(gdstk.Reference(sram_6t, (3.3525,2.541)))
memory_array_static_colu.add(gdstk.Reference(sram_6t, (3.5205,2.541)))
memory_array_static_colu.add(gdstk.Reference(sram_6t, (3.1845,2.541)))
memory_array_static_colu.add(gdstk.Reference(sram_6t, (3.5205,2.31)))
memory_array_static_colu.add(gdstk.Reference(sram_6t, (3.3525,2.31)))
memory_array_static_colu.add(gdstk.Reference(sram_6t, (3.1845,2.31)))
memory_array_static_colu.add(gdstk.Reference(sram_6t, (3.1845,2.079)))
memory_array_static_colu.add(gdstk.Reference(sram_6t, (3.3525,2.079)))
memory_array_static_colu.add(gdstk.Reference(sram_6t, (3.5205,2.079)))
memory_array_static_colu.add(gdstk.Reference(sram_6t, (3.6885,1.848)))
memory_array_static_colu.add(gdstk.Reference(sram_6t, (3.5205,1.848)))
memory_array_static_colu.add(gdstk.Reference(sram_6t, (3.3525,1.848)))
memory_array_static_colu.add(gdstk.Reference(sram_6t, (3.1845,1.848)))
memory_array_static_colu.add(gdstk.Reference(sram_6t, (4.4445,2.079)))
memory_array_static_colu.add(gdstk.Reference(sram_6t, (4.2765,2.079)))
memory_array_static_colu.add(gdstk.Reference(sram_6t, (4.1085,2.079)))
memory_array_static_colu.add(gdstk.Reference(sram_6t, (3.9405,2.079)))
memory_array_static_colu.add(gdstk.Reference(sram_6t, (3.9405,2.31)))
memory_array_static_colu.add(gdstk.Reference(sram_6t, (4.1085,2.31)))
memory_array_static_colu.add(gdstk.Reference(sram_6t, (4.2765,2.31)))
memory_array_static_colu.add(gdstk.Reference(sram_6t, (4.4445,2.31)))
memory_array_static_colu.add(gdstk.Reference(sram_6t, (3.9405,2.541)))
memory_array_static_colu.add(gdstk.Reference(sram_6t, (4.4445,2.541)))
memory_array_static_colu.add(gdstk.Reference(sram_6t, (4.2765,2.541)))
memory_array_static_colu.add(gdstk.Reference(sram_6t, (4.1085,2.541)))
memory_array_static_colu.add(gdstk.Reference(sram_6t, (4.4445,2.772)))
memory_array_static_colu.add(gdstk.Reference(sram_6t, (4.2765,2.772)))
memory_array_static_colu.add(gdstk.Reference(sram_6t, (4.1085,2.772)))
memory_array_static_colu.add(gdstk.Reference(sram_6t, (3.9405,2.772)))
memory_array_static_colu.add(gdstk.Reference(sram_6t, (4.1085,3.003)))
memory_array_static_colu.add(gdstk.Reference(sram_6t, (4.2765,3.003)))
memory_array_static_colu.add(gdstk.Reference(sram_6t, (4.4445,3.003)))
memory_array_static_colu.add(gdstk.Reference(sram_6t, (3.9405,3.003)))
memory_array_static_colu.add(gdstk.Reference(sram_6t, (3.9405,3.234)))
memory_array_static_colu.add(gdstk.Reference(sram_6t, (4.1085,3.234)))
memory_array_static_colu.add(gdstk.Reference(sram_6t, (4.2765,3.234)))
memory_array_static_colu.add(gdstk.Reference(sram_6t, (4.4445,3.234)))
memory_array_static_colu.add(gdstk.Reference(sram_6t, (3.9405,3.465)))
memory_array_static_colu.add(gdstk.Reference(sram_6t, (4.4445,3.465)))
memory_array_static_colu.add(gdstk.Reference(sram_6t, (4.2765,3.465)))
memory_array_static_colu.add(gdstk.Reference(sram_6t, (4.1085,3.465)))
memory_array_static_colu.add(gdstk.Reference(sram_6t, (3.6885,3.465)))
memory_array_static_colu.add(gdstk.Reference(sram_6t, (3.6885,3.234)))
memory_array_static_colu.add(gdstk.Reference(sram_6t, (3.6885,3.003)))
memory_array_static_colu.add(gdstk.Reference(sram_6t, (3.6885,2.772)))
memory_array_static_colu.add(gdstk.Reference(sram_6t, (2.5965,3.465)))
memory_array_static_colu.add(gdstk.Reference(sram_6t, (2.7645,3.465)))
memory_array_static_colu.add(gdstk.Reference(sram_6t, (2.9325,3.465)))
memory_array_static_colu.add(gdstk.Reference(sram_6t, (2.4285,3.465)))
memory_array_static_colu.add(gdstk.Reference(sram_6t, (2.9325,3.234)))
memory_array_static_colu.add(gdstk.Reference(sram_6t, (2.7645,3.234)))
memory_array_static_colu.add(gdstk.Reference(sram_6t, (2.5965,3.234)))
memory_array_static_colu.add(gdstk.Reference(sram_6t, (2.4285,3.234)))
memory_array_static_colu.add(gdstk.Reference(sram_6t, (2.4285,3.003)))
memory_array_static_colu.add(gdstk.Reference(sram_6t, (2.9325,3.003)))
memory_array_static_colu.add(gdstk.Reference(sram_6t, (2.7645,3.003)))
memory_array_static_colu.add(gdstk.Reference(sram_6t, (2.5965,3.003)))
memory_array_static_colu.add(gdstk.Reference(sram_6t, (2.4285,2.772)))
memory_array_static_colu.add(gdstk.Reference(sram_6t, (2.5965,2.772)))
memory_array_static_colu.add(gdstk.Reference(sram_6t, (2.7645,2.772)))
memory_array_static_colu.add(gdstk.Reference(sram_6t, (2.9325,2.772)))
memory_array_static_colu.add(gdstk.Reference(sram_6t, (2.5965,2.541)))
memory_array_static_colu.add(gdstk.Reference(sram_6t, (2.7645,2.541)))
memory_array_static_colu.add(gdstk.Reference(sram_6t, (2.9325,2.541)))
memory_array_static_colu.add(gdstk.Reference(sram_6t, (2.4285,2.541)))
memory_array_static_colu.add(gdstk.Reference(sram_6t, (2.9325,2.31)))
memory_array_static_colu.add(gdstk.Reference(sram_6t, (2.7645,2.31)))
memory_array_static_colu.add(gdstk.Reference(sram_6t, (2.5965,2.31)))
memory_array_static_colu.add(gdstk.Reference(sram_6t, (2.4285,2.31)))
memory_array_static_colu.add(gdstk.Reference(sram_6t, (2.4285,2.079)))
memory_array_static_colu.add(gdstk.Reference(sram_6t, (2.5965,2.079)))
memory_array_static_colu.add(gdstk.Reference(sram_6t, (2.7645,2.079)))
memory_array_static_colu.add(gdstk.Reference(sram_6t, (2.9325,2.079)))
memory_array_static_colu.add(gdstk.Reference(sram_6t, (2.9325,1.848)))
memory_array_static_colu.add(gdstk.Reference(sram_6t, (2.7645,1.848)))
memory_array_static_colu.add(gdstk.Reference(sram_6t, (2.5965,1.848)))
memory_array_static_colu.add(gdstk.Reference(sram_6t, (2.4285,1.848)))
memory_array_static_colu.add(gdstk.Reference(sram_6t, (1.6725,2.31)))
memory_array_static_colu.add(gdstk.Reference(sram_6t, (2.1765,1.848)))
memory_array_static_colu.add(gdstk.Reference(sram_6t, (2.0085,1.848)))
memory_array_static_colu.add(gdstk.Reference(sram_6t, (1.8405,1.848)))
memory_array_static_colu.add(gdstk.Reference(sram_6t, (1.8405,2.079)))
memory_array_static_colu.add(gdstk.Reference(sram_6t, (2.0085,2.079)))
memory_array_static_colu.add(gdstk.Reference(sram_6t, (2.1765,2.079)))
memory_array_static_colu.add(gdstk.Reference(sram_6t, (1.6725,1.848)))
memory_array_static_colu.add(gdstk.Reference(sram_6t, (1.6725,2.079)))
memory_array_static_colu.add(gdstk.Reference(sram_6t, (1.8405,2.31)))
memory_array_static_colu.add(gdstk.Reference(sram_6t, (2.0085,2.31)))
memory_array_static_colu.add(gdstk.Reference(sram_6t, (2.1765,2.31)))
memory_array_static_colu.add(gdstk.Reference(sram_6t, (1.6725,2.541)))
memory_array_static_colu.add(gdstk.Reference(sram_6t, (2.1765,2.541)))
memory_array_static_colu.add(gdstk.Reference(sram_6t, (2.0085,2.541)))
memory_array_static_colu.add(gdstk.Reference(sram_6t, (1.8405,2.541)))
memory_array_static_colu.add(gdstk.Reference(sram_6t, (2.1765,2.772)))
memory_array_static_colu.add(gdstk.Reference(sram_6t, (2.0085,2.772)))
memory_array_static_colu.add(gdstk.Reference(sram_6t, (1.8405,2.772)))
memory_array_static_colu.add(gdstk.Reference(sram_6t, (1.6725,2.772)))
memory_array_static_colu.add(gdstk.Reference(sram_6t, (1.8405,3.003)))
memory_array_static_colu.add(gdstk.Reference(sram_6t, (2.0085,3.003)))
memory_array_static_colu.add(gdstk.Reference(sram_6t, (2.1765,3.003)))
memory_array_static_colu.add(gdstk.Reference(sram_6t, (1.6725,3.003)))
memory_array_static_colu.add(gdstk.Reference(sram_6t, (1.6725,3.234)))
memory_array_static_colu.add(gdstk.Reference(sram_6t, (1.8405,3.234)))
memory_array_static_colu.add(gdstk.Reference(sram_6t, (2.0085,3.234)))
memory_array_static_colu.add(gdstk.Reference(sram_6t, (2.1765,3.234)))
memory_array_static_colu.add(gdstk.Reference(sram_6t, (1.6725,3.465)))
memory_array_static_colu.add(gdstk.Reference(sram_6t, (2.1765,3.465)))
memory_array_static_colu.add(gdstk.Reference(sram_6t, (2.0085,3.465)))
memory_array_static_colu.add(gdstk.Reference(sram_6t, (1.8405,3.465)))

lib.write_gds('memory_array_static_column_decoder_test.gds')
